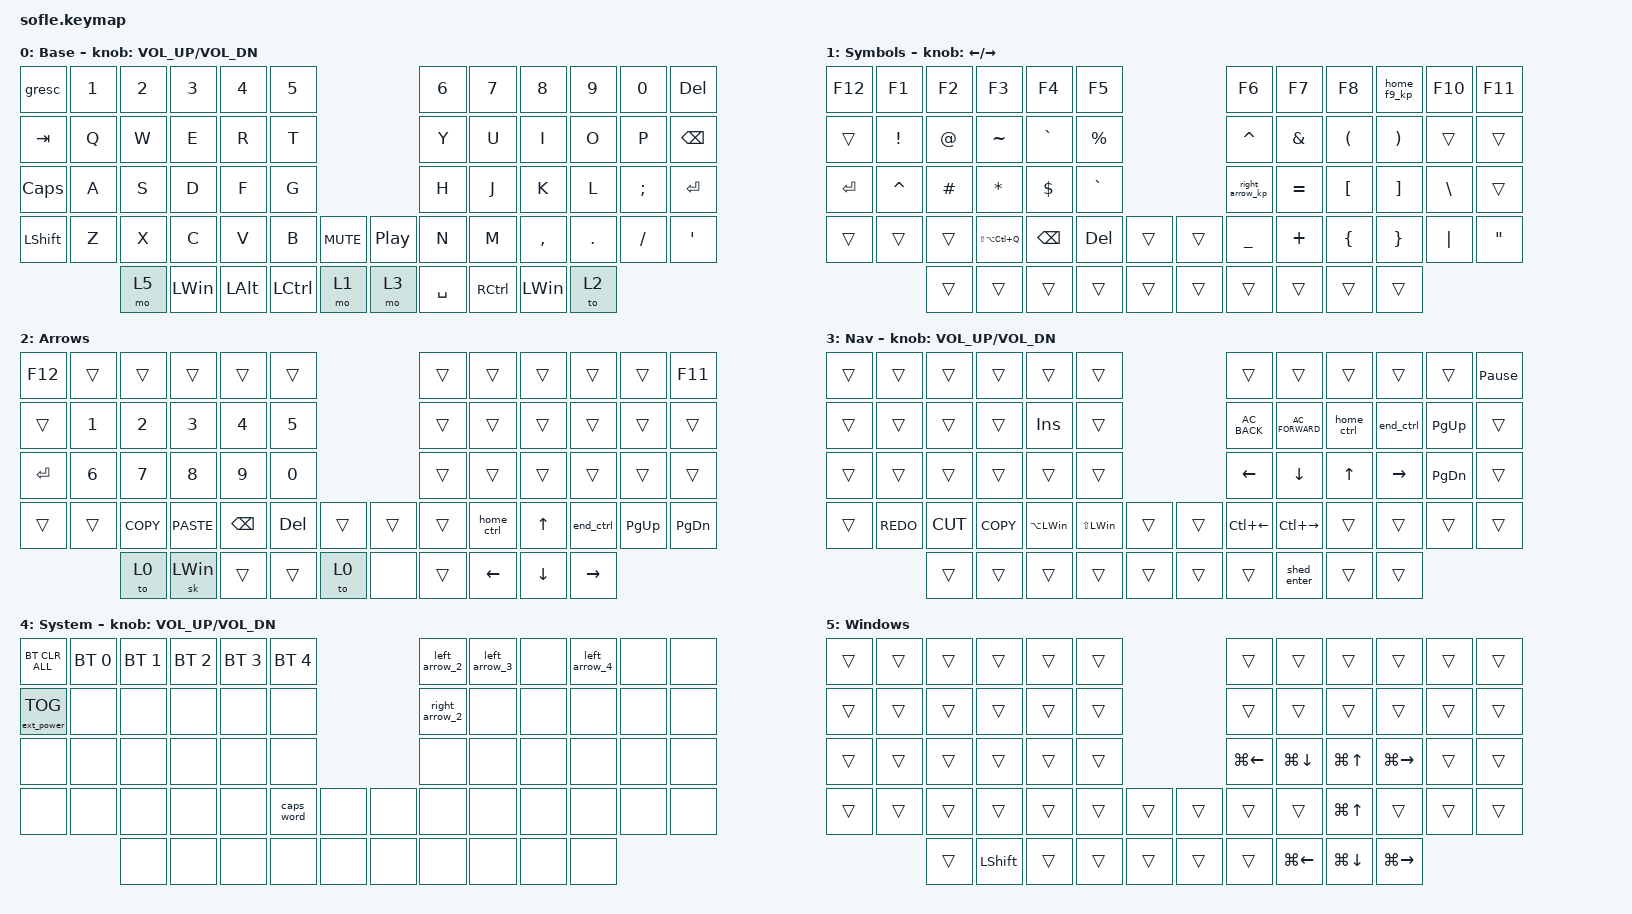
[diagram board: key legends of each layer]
/*
 * Copyright (c) 2020 The ZMK Contributors
 *
 * SPDX-License-Identifier: MIT
 */

#include <behaviors.dtsi>
#include <dt-bindings/zmk/bt.h>
#include <dt-bindings/zmk/ext_power.h>
#include <dt-bindings/zmk/keys.h>

// Encoders

&sensors { triggers-per-rotation = <30>; };

&left_encoder { steps = <59>; };

&right_encoder { steps = <59>; };

#define BASE 0
#define LOWER 1
#define RAISE 2
#define ADJUST 3

/ {
    // Activate ADJUST layer by pressing raise and lower

    conditional_layers {
        compatible = "zmk,conditional-layers";

        adjust_layer {
            if-layers = <1 3>;
            then-layer = <4>;
        };
    };

    combos {
        compatible = "zmk,combos";

        backspace {
            bindings = <&kp BACKSPACE>;
            key-positions = <32 31>;
        };
    };

    behaviors {
        caps_word: caps_word {
            compatible = "zmk,behavior-caps-word";
            label = "CAPS_WORD";
            #binding-cells = <0>;
            continue-list = <POUND MINUS BACKSPACE UNDERSCORE>;
        };

        layer_kp: layer_kp {
            compatible = "zmk,behavior-hold-tap";
            label = "LAYER_KP";
            bindings = <&mo>, <&kp>;

            #binding-cells = <2>;
            tapping-term-ms = <180>;
            flavor = "tap-preferred";
        };

        shift_caps: shift_caps {
            compatible = "zmk,behavior-tap-dance";
            label = "SHIFT_CAPS";
            #binding-cells = <0>;
            bindings = <&sticky RSHIFT>, <&caps_word>;
        };

        sticky: sticky {
            compatible = "zmk,behavior-sticky-key";
            label = "STICKY";
            bindings = <&kp>;
            #binding-cells = <1>;
            release-after-ms = <1000>;
            quick-release;
        };

        tog_layer: tog_layer {
            compatible = "zmk,behavior-hold-tap";
            label = "TOG_LAYER";
            bindings = <&mo>, <&sl>;

            #binding-cells = <2>;
            tapping-term-ms = <180>;
            flavor = "tap-preferred";
        };

        home_f9_kp: home_f9_kp {
            compatible = "zmk,behavior-tap-dance";
            label = "HOME_F9_KP";
            #binding-cells = <0>;
            bindings = <&kp F9>, <&home_f9>;
        };

        right_arrow_kp: right_arrow_kp {
            compatible = "zmk,behavior-mod-morph";
            label = "RIGHT_ARROW_KP";
            bindings = <&kp MINUS>, <&right_arrow>;

            #binding-cells = <0>;
            mods = <(MOD_LSFT|MOD_RSFT)>;
        };

        del_insert: del_insert {
            compatible = "zmk,behavior-mod-morph";
            label = "DEL_INSERT";
            bindings = <&kp DELETE>, <&kp INSERT>;

            #binding-cells = <0>;
            mods = <(MOD_RSFT)>;
        };

        home_ctrl: home_ctrl {
            compatible = "zmk,behavior-tap-dance";
            label = "HOME_CTRL";
            #binding-cells = <0>;
            bindings = <&kp HOME>, <&kp LC(HOME)>;
        };

        end_ctrl: end_ctrl {
            compatible = "zmk,behavior-tap-dance";
            label = "END_CTRL";
            #binding-cells = <0>;
            bindings = <&kp END>, <&kp LC(END)>;
        };
    };

    macros {
        shed_enter: shed {
            compatible = "zmk,behavior-macro";
            #binding-cells = <0>;
            bindings = <&kp LS(T) &kp AT &kp S &kp H &kp E &kp D &kp N2 &kp N0 &kp N2 &kp N5 &kp ENTER>;
            label = "SHED";
        };

        home_f9: home_f9 {
            compatible = "zmk,behavior-macro";
            #binding-cells = <0>;
            bindings = <&kp HOME &kp F9>;
            label = "HOME_F9";
        };

        right_arrow: right_arrow {
            compatible = "zmk,behavior-macro";
            #binding-cells = <0>;
            bindings = <&kp MINUS &kp GREATER_THAN>;
            label = "RIGHT_ARROW";
        };

        right_arrow_2: right_arrow_2 {
            compatible = "zmk,behavior-macro";
            #binding-cells = <0>;
            bindings =
                <&macro_wait_time 100>,
                <&kp LEFT_WIN &kp LA(SPACE) &kp W &kp SPACE &kp E &kp D &kp G &kp E &kp RET>,
                <&macro_wait_time 103982>,
                <&kp K_SCROLL_DOWN &kp K_SCROLL_DOWN &kp LC(TAB) &kp LC(TAB)>,
                <&macro_wait_time 100>,
                <&kp LA(SPACE) &kp N &kp O &kp T &kp E &kp RET>,
                <&macro_wait_time 147892>,
                <&kp NUMBER_1 &kp NUMBER_2>,
                <&macro_wait_time 197482>,
                <&kp NUMBER_3 &kp LC(TAB) &kp NUMBER_4>,
                <&macro_wait_time 100>,
                <&kp LA(SPACE) &kp W &kp SPACE &kp T &kp E &kp A &kp M &kp S>,
                <&macro_wait_time 1000>,
                <&kp LS(LG(S)) &kp TAB &kp ENTER &kp DOWN &kp DOWN &kp ENTER &kp LG(L)>;

            label = "RIGHT_ARROW_2";
        };

        left_arrow_2: left_arrow_2 {
            compatible = "zmk,behavior-macro";
            #binding-cells = <0>;
            bindings =
                <&macro_wait_time 100>,
                <&kp LA(SPACE) &kp W &kp SPACE &kp E &kp D &kp G &kp E &kp RET>,
                <&macro_wait_time 103982>,
                <&kp K_SCROLL_DOWN &kp K_SCROLL_DOWN &kp LC(TAB) &kp LC(TAB)>,
                <&macro_wait_time 100>,
                <&kp LA(SPACE) &kp N &kp O &kp T &kp E>,
                <&macro_wait_time 147892>,
                <&kp RET &kp LA(TAB) &kp LA(TAB) &kp LA(TAB)>,
                <&macro_wait_time 197482>,
                <&kp LA(TAB) &kp LEFT_WIN>,
                <&macro_wait_time 100>,
                <&kp LA(SPACE) &kp W &kp SPACE &kp T &kp E &kp A &kp M &kp S &kp PRINTSCREEN &kp RG(L)>;

            label = "LEFT_ARROW_2";
        };

        left_arrow_3: left_arrow_3 {
            compatible = "zmk,behavior-macro";
            #binding-cells = <0>;
            bindings =
                <&macro_wait_time 100>,
                <&kp LA(SPACE) &kp W &kp SPACE &kp E &kp D &kp G &kp E &kp RET>,
                <&macro_wait_time 103982>,
                <&kp K_SCROLL_DOWN &kp K_SCROLL_DOWN &kp LC(TAB) &kp LC(TAB)>,
                <&macro_wait_time 147892>,
                <&kp DOWN &kp DOWN>,
                <&macro_wait_time 197482>,
                <&kp DOWN &kp LC(TAB) &kp DOWN>,
                <&macro_wait_time 100>,
                <&kp LA(SPACE) &kp W &kp SPACE &kp T &kp E &kp A &kp M &kp S>,
                <&macro_wait_time 289716>,
                <&kp RET &kp LA(SPACE)>,
                <&macro_wait_time 100>,
                <&kp V &kp S &kp C &kp O &kp D &kp E>,
                <&macro_wait_time 318922>,
                <&kp ENTER>,
                <&macro_wait_time 234781>,
                <&kp LC(O)>,
                <&macro_wait_time 123789>,
                <&kp DOWN &kp ENTER &kp LA(TAB)>,
                <&macro_wait_time 78>,
                <&kp LA(SPACE) &kp W &kp SPACE &kp V &kp I &kp S &kp U &kp A &kp L &kp RET>,
                <&macro_wait_time 87382>,
                <&kp DOWN &kp DOWN &kp DOWN &kp DOWN &kp ENTER>,
                <&macro_wait_time 53428>,
                <&kp K_SCROLL_DOWN &kp K_SCROLL_DOWN &kp K_SCROLL_DOWN &kp K_SCROLL_UP>,
                <&macro_wait_time 3229>,
                <&kp PRINTSCREEN &kp RG(L)>;

            label = "LEFT_ARROW_3";
        };

        left_arrow_4: left_arrow_4 {
            compatible = "zmk,behavior-macro";
            #binding-cells = <0>;
            bindings = <&kp C_AL_LOCK>;
            label = "LEFT_ARROW_4";
        };
    };

    keymap {
        compatible = "zmk,keymap";

        default_layer {
            display-name = "Base";

            // ------------------------------------------------------------------------------------------------------------
            // |   `   |  1  |  2  |  3   |  4   |  5   |                   |  6   |  7    |  8    |  9   |   0   |       |
            // |  ESC  |  Q  |  W  |  E   |  R   |  T   |                   |  Y   |  U    |  I    |  O   |   P   | BKSPC |
            // |  TAB  |  A  |  S  |  D   |  F   |  G   |                   |  H   |  J    |  K    |  L   |   ;   |   '   |
            // | SHIFT |  Z  |  X  |  C   |  V   |  B   |  MUTE  |  |       |  N   |  M    |  ,    |  .   |   /   | SHIFT |
            //               | GUI | ALT  | CTRL | LOWER|  ENTER |  | SPACE | RAISE| CTRL  | ALT   | GUI  |

            bindings = <
&gresc        &kp N1  &kp N2  &kp N3        &kp N4        &kp N5                                            &kp N6     &kp N7     &kp N8        &kp N9   &kp N0    &kp DELETE
&kp TAB       &kp Q   &kp W   &kp E         &kp R         &kp T                                             &kp Y      &kp U      &kp I         &kp O    &kp P     &kp BSPC
&kp CAPSLOCK  &kp A   &kp S   &kp D         &kp F         &kp G                                             &kp H      &kp J      &kp K         &kp L    &kp SEMI  &kp RET
&kp LSHFT     &kp Z   &kp X   &kp C         &kp V         &kp B             &kp C_MUTE    &kp C_PLAY_PAUSE  &kp N      &kp M      &kp COMMA     &kp DOT  &kp FSLH  &kp APOS
                      &mo 5   &kp LEFT_WIN  &kp LEFT_ALT  &kp LEFT_CONTROL  &mo 1         &mo 3             &kp SPACE  &kp RCTRL  &kp LEFT_WIN  &to 2
            >;

            sensor-bindings = <&inc_dec_kp C_VOL_UP C_VOL_DN>;
        };

        lower_layer {
            display-name = "Symbols";

            // TODO: Some binds are waiting for shifted keycode support.
            // ------------------------------------------------------------------------------------------------------------
            // |       |  F1 |  F2 |  F3  |  F4  |  F5  |                   |  F6  |  F7   |  F8   |  F9  |  F10  |  F11  |
            // |   `   |  1  |  2  |  3   |  4   |  5   |                   |  6   |  7    |  8    |  9   |   0   |  F12  |
            // |       |  !  |  @  |  #   |  $   |  %   |                   |  ^   |  &    |  *    |  (   |   )   |   |   |
            // |       |  =  |  -  |  +   |  {   |  }   |        |  |       |  [   |  ]    |  ;    |  :   |   \   |       |
            //               |     |      |      |      |        |  |       |      |       |       |      |

            bindings = <
&kp F12    &kp F1     &kp F2     &kp F3             &kp F4         &kp F5                         &kp F6           &kp F7         &kp F8                &home_f9_kp            &kp F10        &kp F11
&trans     &kp EXCL   &kp AT     &kp TILDE          &kp GRAVE      &kp PERCENT                    &kp CARET        &kp AMPERSAND  &kp LEFT_PARENTHESIS  &kp RIGHT_PARENTHESIS  &trans         &trans
&kp ENTER  &kp CARET  &kp POUND  &kp STAR           &kp DLLR       &kp GRAVE                      &right_arrow_kp  &kp EQUAL      &kp LEFT_BRACKET      &kp RIGHT_BRACKET      &kp BACKSLASH  &trans
&trans     &trans     &trans     &kp LS(LA(LC(Q)))  &kp BACKSPACE  &kp DELETE   &trans    &trans  &kp UNDERSCORE   &kp PLUS       &kp LEFT_BRACE        &kp RIGHT_BRACE        &kp PIPE       &kp DOUBLE_QUOTES
                      &trans     &trans             &trans         &trans       &trans    &trans  &trans           &trans         &trans                &trans
            >;

            sensor-bindings = <&inc_dec_kp LEFT_ARROW RIGHT_ARROW>;
        };

        Arrows {
            bindings = <
&kp F12    &trans        &trans        &trans        &trans         &trans                          &trans  &trans      &trans    &trans     &trans       &kp F11
&trans     &kp NUMBER_1  &kp NUMBER_2  &kp NUMBER_3  &kp NUMBER_4   &kp N5                          &trans  &trans      &trans    &trans     &trans       &trans
&kp ENTER  &kp NUMBER_6  &kp NUMBER_7  &kp NUMBER_8  &kp NUMBER_9   &kp NUMBER_0                    &trans  &trans      &trans    &trans     &trans       &trans
&trans     &trans        &kp K_COPY    &kp K_PASTE   &kp BACKSPACE  &kp DELETE    &trans    &trans  &trans  &home_ctrl  &kp UP    &end_ctrl  &kp PAGE_UP  &kp PAGE_DOWN
                         &to 0         &sk LEFT_WIN  &trans         &trans        &to 0     &none   &trans  &kp LEFT    &kp DOWN  &kp RIGHT
            >;

            label = "Arrows";
        };

        raise_layer {
            display-name = "Nav";

            // ------------------------------------------------------------------------------------------------------------
            // | BTCLR | BT1  | BT2  |  BT3  |  BT4  |  BT5 |                |      |      |       |      |       |       |
            // |       | INS  | PSCR | GUI   |       |      |                | PGUP |      |   ^   |      |       |       |
            // |       | ALT  | CTRL | SHIFT |       | CAPS |                | PGDN |   <- |   v   |  ->  |  DEL  | BKSPC |
            // |       | UNDO | CUT  | COPY  | PASTE |      |      |  |      |      |      |       |      |       |       |
            //                |      |       |       |      |      |  |      |      |      |       |      |

            bindings = <
&trans  &trans      &trans     &trans      &trans            &trans                              &trans         &trans            &trans        &trans     &trans         &kp PAUSE_BREAK
&trans  &trans      &trans     &trans      &kp INSERT        &trans                              &kp C_AC_BACK  &kp C_AC_FORWARD  &home_ctrl    &end_ctrl  &kp PAGE_UP    &trans
&trans  &trans      &trans     &trans      &trans            &trans                              &kp LEFT       &kp DOWN          &kp UP_ARROW  &kp RIGHT  &kp PAGE_DOWN  &trans
&trans  &kp K_REDO  &kp K_CUT  &kp K_COPY  &kp LA(LEFT_WIN)  &kp LS(LEFT_WIN)  &trans    &trans  &kp LC(LEFT)   &kp LC(RIGHT)     &trans        &trans     &trans         &trans
                    &trans     &trans      &trans            &trans            &trans    &trans  &trans         &shed_enter       &trans        &trans
            >;

            sensor-bindings = <&inc_dec_kp C_VOL_UP C_VOL_DN>;
        };

        adjust_layer {
            // ----------------------------------------------------------------------------------------------------------------------------
            // | BTCLR  |  BT1    |  BT2    |   BT3   |   BT4   |   BT5   |                  |      |      |       |      |       |       |
            // | EXTPWR | RGB_HUD | RGB_HUI | RGB_SAD | RGB_SAI | RGB_EFF |                  |      |      |       |      |       |       |
            // |        | RGB_BRD | RGB_BRI |         |         |         |                  |      |      |       |      |       |       |
            // |        |         |         |         |         |         | RGB_TOG | |      |      |      |       |      |       |       |
            //                    |         |         |         |         |         | |      |      |      |       |      |

            display-name = "System";
            bindings = <
&bt BT_CLR_ALL     &bt BT_SEL 0  &bt BT_SEL 1  &bt BT_SEL 2  &bt BT_SEL 3  &bt BT_SEL 4                  &left_arrow_2   &left_arrow_3  &none  &left_arrow_4  &none  &none
&ext_power EP_TOG  &none         &none         &none         &none         &none                         &right_arrow_2  &none          &none  &none          &none  &none
&none              &none         &none         &none         &none         &none                         &none           &none          &none  &none          &none  &none
&none              &none         &none         &none         &none         &caps_word    &none    &none  &none           &none          &none  &none          &none  &none
                                 &none         &none         &none         &none         &none    &none  &none           &none          &none  &none
            >;

            sensor-bindings = <&inc_dec_kp C_VOL_UP C_VOL_DN>;
        };

        Windows {
            bindings = <
&trans  &trans  &trans  &trans     &trans  &trans                    &trans        &trans        &trans        &trans         &trans  &trans
&trans  &trans  &trans  &trans     &trans  &trans                    &trans        &trans        &trans        &trans         &trans  &trans
&trans  &trans  &trans  &trans     &trans  &trans                    &kp LG(LEFT)  &kp LG(DOWN)  &kp LG(UP)    &kp LG(RIGHT)  &trans  &trans
&trans  &trans  &trans  &trans     &trans  &trans  &trans    &trans  &trans        &trans        &kp LG(UP)    &trans         &trans  &trans
                &trans  &kp LSHFT  &trans  &trans  &trans    &trans  &trans        &kp LG(LEFT)  &kp LG(DOWN)  &kp LG(RIGHT)
            >;
        };
    };
};
